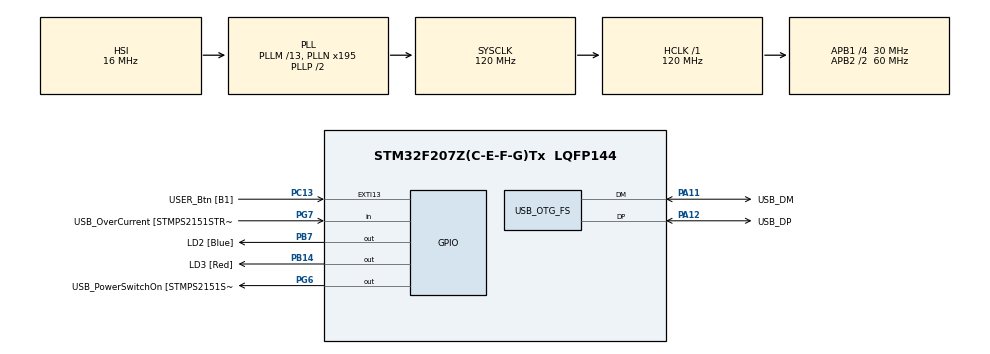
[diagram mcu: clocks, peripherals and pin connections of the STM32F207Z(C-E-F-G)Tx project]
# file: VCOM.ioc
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Mcu.Family=STM32F2
Mcu.Name=STM32F207Z(C-E-F-G)Tx
Mcu.Package=LQFP144
NVIC.OTG_FS_IRQn=true\:0\:0\:false\:false\:true\:false
NVIC.PriorityGroup=NVIC_PRIORITYGROUP_4
PA1.GPIO_Label=RMII_REF_CLK [LAN8742A-CZ-TR_REFCLK0]
PA1.Signal=ETH_REF_CLK
PA10.GPIO_Label=USB_ID
PA10.Signal=USB_OTG_FS_ID
PA11.GPIO_Label=USB_DM
PA11.Mode=Device_Only
PA11.Signal=USB_OTG_FS_DM
PA12.GPIO_Label=USB_DP
PA12.Mode=Device_Only
PA12.Signal=USB_OTG_FS_DP
PA13.GPIO_Label=TMS
PA13.Mode=Serial_Wire
PA13.Signal=SYS_JTMS-SWDIO
PA14.GPIO_Label=TCK
PA14.Mode=Serial_Wire
PA14.Signal=SYS_JTCK-SWCLK
PA2.GPIO_Label=RMII_MDIO [LAN8742A-CZ-TR_MDIO]
PA2.Signal=ETH_MDIO
PA7.GPIO_Label=RMII_CRS_DV [LAN8742A-CZ-TR_CRS_DV]
PA7.Signal=ETH_CRS_DV
PA8.GPIO_Label=USB_SOF [TP1]
PA8.Signal=USB_OTG_FS_SOF
PA9.GPIO_Label=USB_VBUS
PA9.Signal=USB_OTG_FS_VBUS
PB13.GPIO_Label=RMII_TXD1 [LAN8742A-CZ-TR_TXD1]
PB13.Signal=ETH_TXD1
PB14.GPIO_Label=LD3 [Red]
PB14.Signal=GPIO_Output
PB3.GPIO_Label=SWO
PB3.Signal=SYS_JTDO-SWO
PB7.GPIO_Label=LD2 [Blue]
PB7.Signal=GPIO_Output
PC1.GPIO_Label=RMII_MDC [LAN8742A-CZ-TR_MDC]
PC1.Signal=ETH_MDC
PC13.GPIO_Label=USER_Btn [B1]
PC13.Signal=GPXTI13
PC14-OSC32_IN.Signal=RCC_OSC32_IN
PC15-OSC32_OUT.Signal=RCC_OSC32_OUT
PC4.GPIO_Label=RMII_RXD0 [LAN8742A-CZ-TR_RXD0]
PC4.Signal=ETH_RXD0
PC5.GPIO_Label=RMII_RXD1 [LAN8742A-CZ-TR_RXD1]
PC5.Signal=ETH_RXD1
PD8.GPIO_Label=STLK_RX [STM32F103CBT6_PA3]
PD8.Signal=USART3_TX
PD9.GPIO_Label=STLK_TX [STM32F103CBT6_PA2]
PD9.Signal=USART3_RX
PG11.GPIO_Label=RMII_TX_EN [LAN8742A-CZ-TR_TXEN]
PG11.Signal=ETH_TX_EN
PG13.GPIO_Label=RMII_TXD0 [LAN8742A-CZ-TR_TXD0]
PG13.Signal=ETH_TXD0
PG6.GPIO_Label=USB_PowerSwitchOn [STMPS2151STR_EN]
PG6.Signal=GPIO_Output
PG7.GPIO_Label=USB_OverCurrent [STMPS2151STR_FAULT]
PG7.Signal=GPIO_Input
PH0-OSC_IN.GPIO_Label=MCO [STM32F103CBT6_PA8]
PH0-OSC_IN.Mode=HSE-External-Oscillator
PH0-OSC_IN.Signal=RCC_OSC_IN
PH1-OSC_OUT.Mode=HSE-External-Oscillator
PH1-OSC_OUT.Signal=RCC_OSC_OUT
ProjectManager.HeapSize=0x1000
ProjectManager.StackSize=0x400
ProjectManager.TargetToolchain=EWARM
RCC.48MHZClocksFreq_Value=48000000
RCC.AHBFreq_Value=120000000
RCC.APB1CLKDivider=RCC_HCLK_DIV4
RCC.APB1Freq_Value=30000000
RCC.APB1TimFreq_Value=60000000
RCC.APB2CLKDivider=RCC_HCLK_DIV2
RCC.APB2Freq_Value=60000000
RCC.APB2TimFreq_Value=120000000
RCC.CortexFreq_Value=120000000
RCC.HCLKFreq_Value=120000000
RCC.HSE_VALUE=8000000
RCC.HSI_VALUE=16000000
RCC.LSE_VALUE=32768
RCC.PLLM=13
RCC.PLLMUL=RCC_PLL_MUL9
RCC.PLLN=195
RCC.PLLQ=5
RCC.PRESCALERUSB=RCC_USBCLKSOURCE_PLL_DIV1_5
RCC.SYSCLKFreq_VALUE=120000000
RCC.SYSCLKSource=RCC_SYSCLKSOURCE_PLLCLK
RCC.SYSCLKSourceVirtual=RCC_SYSCLKSOURCE_PLLCLK
RCC.USBFreq_Value=48000000
RCC.VCOOutputFreq_Value=240000000
USB_DEVICE.CLASS_NAME_FS=CDC
USB_DEVICE.VirtualMode-CDC_FS=Cdc
USB_DEVICE.VirtualModeFS=Cdc_FS
USB_OTG_FS.VirtualMode=Device_Only
VP_USB_DEVICE_VS_USB_DEVICE_CDC_FS.Mode=CDC_FS
board=NUCLEO-F207ZG

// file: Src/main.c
/**
  ******************************************************************************
  * File Name          : main.c
  * Description        : Main program body
  ******************************************************************************
  * This notice applies to any and all portions of this file
  * that are not between comment pairs USER CODE BEGIN and
  * USER CODE END. Other portions of this file, whether
  * inserted by the user or by software development tools
  * are owned by their respective copyright owners.
  *
  * Copyright (c) 2017 STMicroelectronics International N.V.
  * All rights reserved.
  *
  * Redistribution and use in source and binary forms, with or without
  * modification, are permitted, provided that the following conditions are met:
  *
  * 1. Redistribution of source code must retain the above copyright notice,
  *    this list of conditions and the following disclaimer.
  * 2. Redistributions in binary form must reproduce the above copyright notice,
  *    this list of conditions and the following disclaimer in the documentation
  *    and/or other materials provided with the distribution.
  * 3. Neither the name of STMicroelectronics nor the names of other
  *    contributors to this software may be used to endorse or promote products
  *    derived from this software without specific written permission.
  * 4. This software, including modifications and/or derivative works of this
  *    software, must execute solely and exclusively on microcontroller or
  *    microprocessor devices manufactured by or for STMicroelectronics.
  * 5. Redistribution and use of this software other than as permitted under
  *    this license is void and will automatically terminate your rights under
  *    this license.
  *
  * THIS SOFTWARE IS PROVIDED BY STMICROELECTRONICS AND CONTRIBUTORS "AS IS"
  * AND ANY EXPRESS, IMPLIED OR STATUTORY WARRANTIES, INCLUDING, BUT NOT
  * LIMITED TO, THE IMPLIED WARRANTIES OF MERCHANTABILITY, FITNESS FOR A
  * PARTICULAR PURPOSE AND NON-INFRINGEMENT OF THIRD PARTY INTELLECTUAL PROPERTY
  * RIGHTS ARE DISCLAIMED TO THE FULLEST EXTENT PERMITTED BY LAW. IN NO EVENT
  * SHALL STMICROELECTRONICS OR CONTRIBUTORS BE LIABLE FOR ANY DIRECT, INDIRECT,
  * INCIDENTAL, SPECIAL, EXEMPLARY, OR CONSEQUENTIAL DAMAGES (INCLUDING, BUT NOT
  * LIMITED TO, PROCUREMENT OF SUBSTITUTE GOODS OR SERVICES; LOSS OF USE, DATA,
  * OR PROFITS; OR BUSINESS INTERRUPTION) HOWEVER CAUSED AND ON ANY THEORY OF
  * LIABILITY, WHETHER IN CONTRACT, STRICT LIABILITY, OR TORT (INCLUDING
  * NEGLIGENCE OR OTHERWISE) ARISING IN ANY WAY OUT OF THE USE OF THIS SOFTWARE,
  * EVEN IF ADVISED OF THE POSSIBILITY OF SUCH DAMAGE.
  *
  ******************************************************************************
  */

#include "main.h"
#include "stm32f2xx_hal.h"
#include "usb_device.h"
#include "gpio.h"

/* USER CODE BEGIN Includes */
#include "usbd_cdc_if.h"
#include "stdio.h"
#define PUTCHAR_PROTOTYPE int fputc(int ch, FILE *f)
/* USER CODE END Includes */

/* USER CODE BEGIN PV */
/* Private variables ---------------------------------------------------------*/
uint8_t RxData[256];
uint32_t data_received = 0;
/* USER CODE END PV */

void SystemClock_Config(void);

/* USER CODE BEGIN PFP */
/* Private function prototypes -----------------------------------------------*/
/**
  * @brief  Retargets the C library printf function to the USART.
  * @param  None
  * @retval None
  */
PUTCHAR_PROTOTYPE
{
  /* Place your implementation of fputc here */
  while(CDC_Transmit_FS((uint8_t *)&ch, 1) != USBD_OK);
  return ch;
}
/* USER CODE END PFP */

int main(void)
{

  /* USER CODE BEGIN 1 */
  unsigned int count_press = 0;
  /* USER CODE END 1 */

  /* MCU Configuration----------------------------------------------------------*/

  /* Reset of all peripherals, Initializes the Flash interface and the Systick. */
  HAL_Init();

  /* Configure the system clock */
  SystemClock_Config();

  /* Initialize all configured peripherals */
  MX_GPIO_Init();
  MX_USB_DEVICE_Init();

  /* Infinite loop */
  while (1)
  {

  /* USER CODE BEGIN 3 */
    if(data_received > 0){
      CDC_Transmit_FS(RxData,data_received);
      data_received = 0;
    }
    if(HAL_GPIO_ReadPin(USER_Btn_GPIO_Port,USER_Btn_Pin) == GPIO_PIN_SET){
      printf("Button pressed: %i times \r\n", count_press);
      count_press++;
      while(HAL_GPIO_ReadPin(USER_Btn_GPIO_Port,USER_Btn_Pin) == GPIO_PIN_SET);
    }
  }
  /* USER CODE END 3 */

}

/** System Clock Configuration
*/
void SystemClock_Config(void)
{

  RCC_OscInitTypeDef RCC_OscInitStruct;
  RCC_ClkInitTypeDef RCC_ClkInitStruct;

    /**Initializes the CPU, AHB and APB busses clocks
    */
  RCC_OscInitStruct.OscillatorType = RCC_OSCILLATORTYPE_HSI;
  RCC_OscInitStruct.HSIState = RCC_HSI_ON;
  RCC_OscInitStruct.HSICalibrationValue = 16;
  RCC_OscInitStruct.PLL.PLLState = RCC_PLL_ON;
  RCC_OscInitStruct.PLL.PLLSource = RCC_PLLSOURCE_HSI;
  RCC_OscInitStruct.PLL.PLLM = 13;
  RCC_OscInitStruct.PLL.PLLN = 195;
  RCC_OscInitStruct.PLL.PLLP = RCC_PLLP_DIV2;
  RCC_OscInitStruct.PLL.PLLQ = 5;
  if (HAL_RCC_OscConfig(&RCC_OscInitStruct) != HAL_OK)
  {
    _Error_Handler(__FILE__, __LINE__);
  }

    /**Initializes the CPU, AHB and APB busses clocks
    */
  RCC_ClkInitStruct.ClockType = RCC_CLOCKTYPE_HCLK|RCC_CLOCKTYPE_SYSCLK
                              |RCC_CLOCKTYPE_PCLK1|RCC_CLOCKTYPE_PCLK2;
  RCC_ClkInitStruct.SYSCLKSource = RCC_SYSCLKSOURCE_PLLCLK;
  RCC_ClkInitStruct.AHBCLKDivider = RCC_SYSCLK_DIV1;
  RCC_ClkInitStruct.APB1CLKDivider = RCC_HCLK_DIV4;
  RCC_ClkInitStruct.APB2CLKDivider = RCC_HCLK_DIV2;

  if (HAL_RCC_ClockConfig(&RCC_ClkInitStruct, FLASH_LATENCY_3) != HAL_OK)
  {
    _Error_Handler(__FILE__, __LINE__);
  }

    /**Configure the Systick interrupt time
    */
  HAL_SYSTICK_Config(HAL_RCC_GetHCLKFreq()/1000);

    /**Configure the Systick
    */
  HAL_SYSTICK_CLKSourceConfig(SYSTICK_CLKSOURCE_HCLK);

  /* SysTick_IRQn interrupt configuration */
  HAL_NVIC_SetPriority(SysTick_IRQn, 0, 0);
}

void _Error_Handler(char * file, int line)
{
  while(1)
  {
  }
}

/************************ (C) COPYRIGHT STMicroelectronics *****END OF FILE****/
